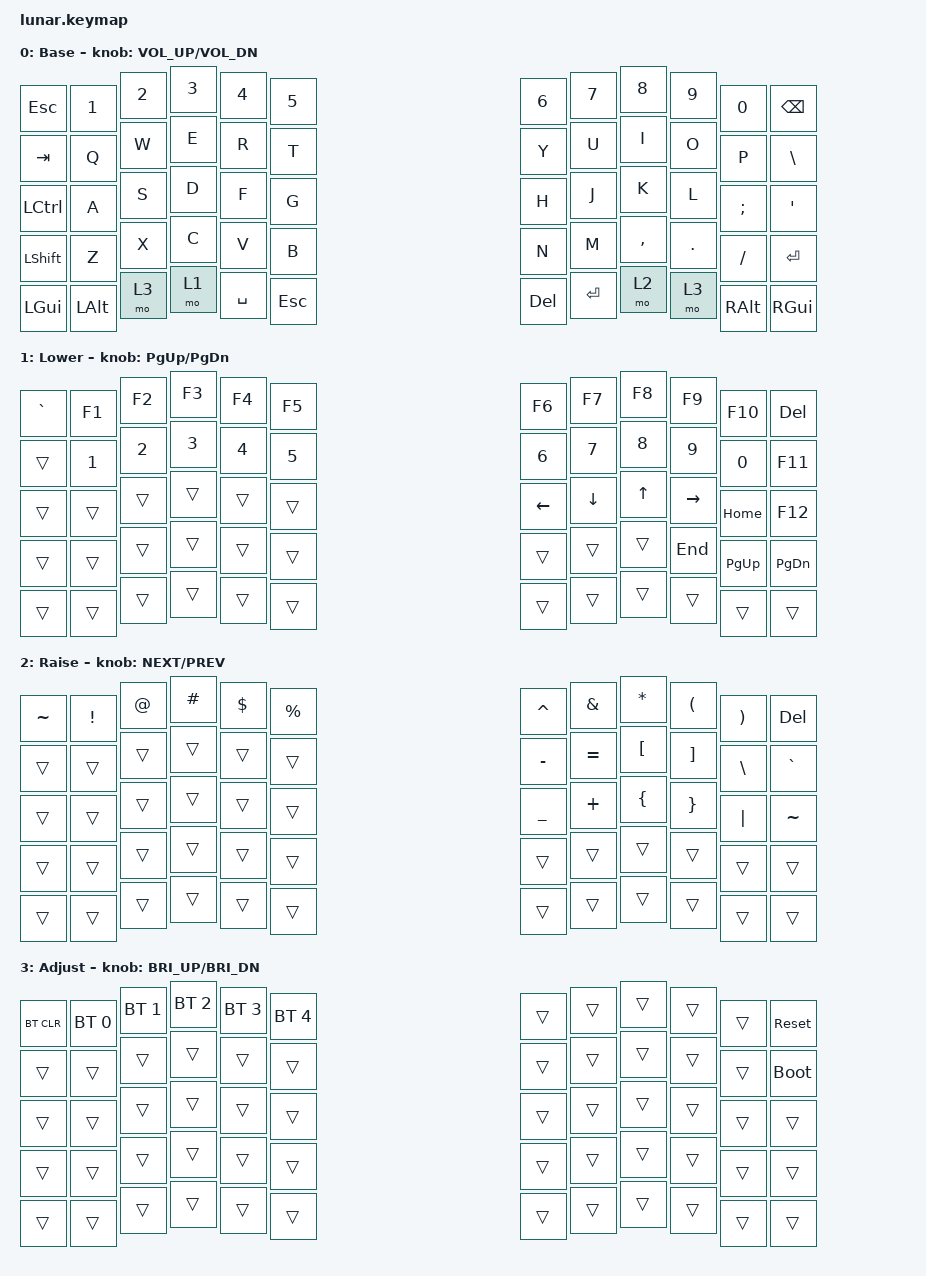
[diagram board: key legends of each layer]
/*
 * Lunar Dust — keymap
 *
 * 5 rows x 12 columns, 60 keys. Left half is columns 0-5 (outer pinky to
 * inner index), right half columns 6-11 (inner index to outer pinky), so
 * each row below reads straight across the keyboard left to right.
 *
 * SPDX-License-Identifier: MIT
 */

#include <behaviors.dtsi>
#include <dt-bindings/zmk/keys.h>
#include <dt-bindings/zmk/bt.h>

/ {
    keymap {
        compatible = "zmk,keymap";

            default_layer {
                display-name = "Base";
                bindings = <
                    &kp ESC       &kp N1        &kp N2        &kp N3        &kp N4        &kp N5        &kp N6        &kp N7        &kp N8        &kp N9        &kp N0        &kp BSPC
                    &kp TAB       &kp Q         &kp W         &kp E         &kp R         &kp T         &kp Y         &kp U         &kp I         &kp O         &kp P         &kp BSLH
                    &kp LCTRL     &kp A         &kp S         &kp D         &kp F         &kp G         &kp H         &kp J         &kp K         &kp L         &kp SEMI      &kp SQT
                    &kp LSHFT     &kp Z         &kp X         &kp C         &kp V         &kp B         &kp N         &kp M         &kp COMMA     &kp DOT       &kp FSLH      &kp RET
                    &kp LGUI      &kp LALT      &mo 3         &mo 1         &kp SPACE     &kp ESC       &kp DEL       &kp RET       &mo 2         &mo 3         &kp RALT      &kp RGUI
                >;
                    sensor-bindings = <&inc_dec_kp C_VOL_UP C_VOL_DN>;
            };
            lower_layer {
                display-name = "Lower";
                bindings = <
                    &kp GRAVE     &kp F1        &kp F2        &kp F3        &kp F4        &kp F5        &kp F6        &kp F7        &kp F8        &kp F9        &kp F10       &kp DEL
                    &trans        &kp N1        &kp N2        &kp N3        &kp N4        &kp N5        &kp N6        &kp N7        &kp N8        &kp N9        &kp N0        &kp F11
                    &trans        &trans        &trans        &trans        &trans        &trans        &kp LEFT      &kp DOWN      &kp UP        &kp RIGHT     &kp HOME      &kp F12
                    &trans        &trans        &trans        &trans        &trans        &trans        &trans        &trans        &trans        &kp END       &kp PG_UP     &kp PG_DN
                    &trans        &trans        &trans        &trans        &trans        &trans        &trans        &trans        &trans        &trans        &trans        &trans
                >;
                    sensor-bindings = <&inc_dec_kp PG_UP PG_DN>;
            };
            raise_layer {
                display-name = "Raise";
                bindings = <
                    &kp TILDE     &kp EXCL      &kp AT        &kp HASH      &kp DLLR      &kp PRCNT     &kp CARET     &kp AMPS      &kp ASTRK     &kp LPAR      &kp RPAR      &kp DEL
                    &trans        &trans        &trans        &trans        &trans        &trans        &kp MINUS     &kp EQUAL     &kp LBKT      &kp RBKT      &kp BSLH      &kp GRAVE
                    &trans        &trans        &trans        &trans        &trans        &trans        &kp UNDER     &kp PLUS      &kp LBRC      &kp RBRC      &kp PIPE      &kp TILDE
                    &trans        &trans        &trans        &trans        &trans        &trans        &trans        &trans        &trans        &trans        &trans        &trans
                    &trans        &trans        &trans        &trans        &trans        &trans        &trans        &trans        &trans        &trans        &trans        &trans
                >;
                    sensor-bindings = <&inc_dec_kp C_NEXT C_PREV>;
            };
            adjust_layer {
                display-name = "Adjust";
                bindings = <
                    &bt BT_CLR    &bt BT_SEL 0  &bt BT_SEL 1  &bt BT_SEL 2  &bt BT_SEL 3  &bt BT_SEL 4  &trans        &trans        &trans        &trans        &trans        &sys_reset
                    &trans        &trans        &trans        &trans        &trans        &trans        &trans        &trans        &trans        &trans        &trans        &bootloader
                    &trans        &trans        &trans        &trans        &trans        &trans        &trans        &trans        &trans        &trans        &trans        &trans
                    &trans        &trans        &trans        &trans        &trans        &trans        &trans        &trans        &trans        &trans        &trans        &trans
                    &trans        &trans        &trans        &trans        &trans        &trans        &trans        &trans        &trans        &trans        &trans        &trans
                >;
                    sensor-bindings = <&inc_dec_kp C_BRI_UP C_BRI_DN>;
            };
    };
};
